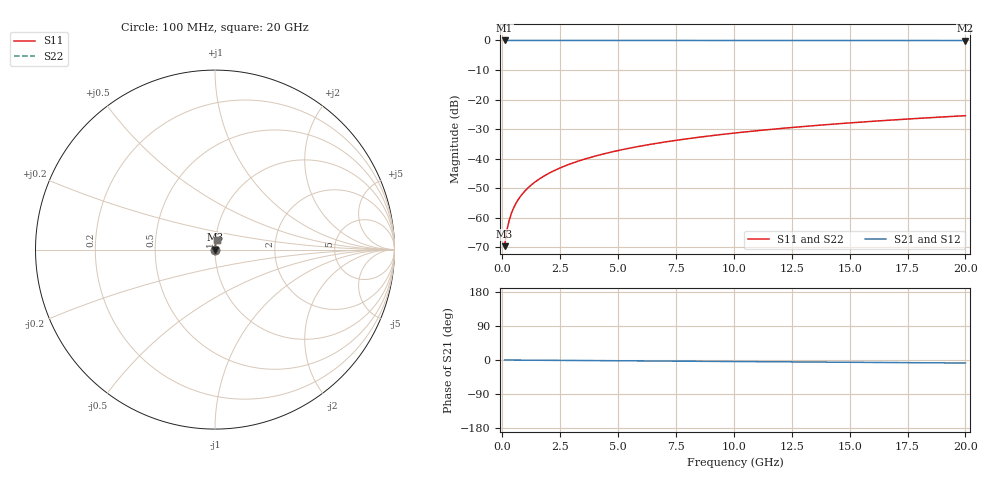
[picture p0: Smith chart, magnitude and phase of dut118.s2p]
! Touchstone file exported from HFSS 2026.1.0
!  File:  C:/ffzhzh/LocalFiles/Ansys_Project_Files/temp_train_TSV_118_1782989889_45328.aedt
!  Generated:  06:59:42 PM Jul  2, 2026
!  Design:  TSV
!  Project:  temp_train_TSV_118_1782989889_45328
! Variables:
!  h_bsmrdl = 2um
!  h_ox = 20um
!  h_rdl = 5um
!  h_sub = 66.82um
!  h_tmrdl = 5um
!  h_tsv = 66.82um
!  h_via = 3um
!  l_bsmrdl = 300um
!  l_sub = 417.56um
!  l_tmrdl = 200um
!  m_sub = 200um
!  pitch = 58.68um
!  r_tsv = 8.78um
!  s_tmrdl = 10um
!  w_bsmrdl = 18um
!  w_sub = 500um
!  w_tmrdl = 12um
!  x_tsv_center1 = 206um
!  x_tsv_center2 = 524um
!  x_tsv_center3 = 736um
!  x_tsv_center4 = 1054um
!  x_tsv_center5 = 1266um
!  x_tsv_center6 = 1584um
# GHz S MA R 50.000000
! Terminal data exported
! Port[1] = TSV1_1_T1
! Port[2] = TSV1_1_T2
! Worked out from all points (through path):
!   200 points, 100 MHz to 20 GHz, reference 50 ohm
!   highest |S21| = 0.00 dB at 100 MHz (marker M1); lowest = 0.0 dB at 20 GHz (marker M2)
!   group delay of S21, straight-line fit = 1.11 ps
!   lowest |S11| = -69.6 dB at 100 MHz (marker M3), VSWR 1.00, Z = 50 + j0.0303 ohm
!   |S11| at or under -10 dB: start of sweep to end of sweep
!   |S22| runs from -69.6 to -25.5 dB; largest |S21 - S12| = 4.3e-15
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0.1  0.0003308 66.4  0.9999 -0.0  0.9999 -0.0  0.0003308 66.4
! Gamma 0 0 0 0
! Port Impedance 50 0 50 0
0.2  0.0006208 76.8  0.9999 -0.1  0.9999 -0.1  0.0006208 76.8
0.3  0.0009158 80.2  0.9998 -0.1  0.9998 -0.1  0.0009158 80.2
0.4  0.001209 81.7  0.9998 -0.2  0.9998 -0.2  0.001209 81.7
0.5  0.001498 82.5  0.9998 -0.2  0.9998 -0.2  0.001498 82.5
0.6  0.001784 83.1  0.9998 -0.2  0.9998 -0.2  0.001784 83.1
0.7  0.002067 83.4  0.9998 -0.3  0.9998 -0.3  0.002067 83.4
0.8  0.002347 83.7  0.9998 -0.3  0.9998 -0.3  0.002347 83.7
1  0.0029 84.1  0.9997 -0.4  0.9997 -0.4  0.0029 84.1
1.4  0.003993 84.7  0.9997 -0.6  0.9997 -0.6  0.003993 84.7
1.7  0.004808 85.1  0.9996 -0.7  0.9996 -0.7  0.004808 85.1
2  0.005623 85.3  0.9996 -0.8  0.9996 -0.8  0.005623 85.3
2.7  0.007521 85.6  0.9995 -1.1  0.9995 -1.1  0.007521 85.6
3.5  0.009686 85.7  0.9995 -1.4  0.9995 -1.4  0.009686 85.7
4.2  0.01158 85.7  0.9994 -1.7  0.9994 -1.7  0.01158 85.7
5  0.01373 85.6  0.9993 -2.0  0.9993 -2.0  0.01373 85.6
6.8  0.01855 85.2  0.9991 -2.7  0.9991 -2.7  0.01855 85.2
8.3  0.02254 84.8  0.999 -3.3  0.999 -3.3  0.02254 84.8
10.1  0.02732 84.2  0.9988 -4.0  0.9988 -4.0  0.02732 84.2
13.4  0.03606 83.1  0.9984 -5.4  0.9984 -5.4  0.03606 83.1
16.7  0.04474 82.0  0.9979 -6.7  0.9979 -6.7  0.04474 82.0
20  0.05336 80.8  0.9974 -8.0  0.9974 -8.0  0.05336 80.8
